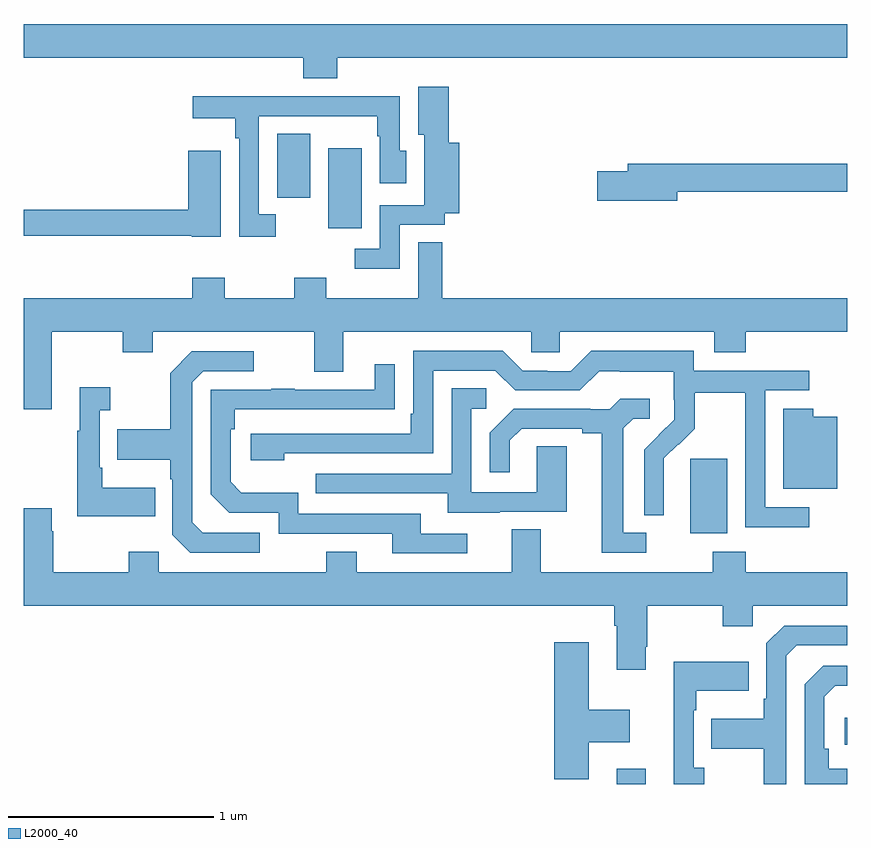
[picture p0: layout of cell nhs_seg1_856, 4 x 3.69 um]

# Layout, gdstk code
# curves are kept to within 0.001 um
import gdstk
lib = gdstk.Library(unit=1e-6, precision=1e-09)
def R(c, l, rs):  # rectangles x0, y0, x1, y1
    for r in rs: c.add(gdstk.rectangle(r[:2], r[2:], *l))
def P(c, l, *ps):  # polygons
    for p in ps: c.add(gdstk.Polygon(p, *l))
L2000_40 = (2000, 40)

nhs_seg1_856 = lib.new_cell('nhs_seg1_856')
R(nhs_seg1_856, L2000_40, [(159.881,552.199,160.021,552.274), (160.989,552.39,161,552.52), (160.238,553.418,160.417,553.779), (158.48,554.9,158.641,555.289), (158.231,555.048,158.392,555.359)])
P(nhs_seg1_856, L2000_40, [(158.522,555.728),(161,555.728),(161,555.892),(157,555.892),(157,555.728),(158.357,555.728),(158.357,555.629),(158.522,555.629)],
  [(158.826,554.916),(159.046,554.916),(159.046,554.972),(159.116,554.972),(159.116,555.316),(159.064,555.316),(159.064,555.586),(158.915,555.586),(158.915,555.353),(158.945,555.353),(158.945,555.012),(158.73,555.012),(158.73,554.799),(158.607,554.799),(158.607,554.702),(158.826,554.702)],
  [(158.224,554.967),(158.142,554.967),(158.142,555.444),(158.488,555.444),(158.488,555.443),(158.718,555.443),(158.718,555.347),(158.73,555.347),(158.73,555.117),(158.857,555.117),(158.857,555.276),(158.826,555.276),(158.826,555.542),(158.605,555.542),(158.605,555.54),(158.239,555.54),(158.239,555.542),(157.821,555.542),(157.821,555.434),(158.026,555.434),(158.026,555.338),(158.046,555.338),(158.046,554.859),(158.224,554.859)],
  [(157.957,555.277),(157.799,555.277),(157.799,554.99),(157,554.99),(157,554.862),(157.815,554.862),(157.815,554.858),(157.957,554.858)],
  [(160.174,555.076),(161,555.076),(161,555.212),(159.935,555.212),(159.935,555.176),(159.786,555.176),(159.786,555.034),(160.174,555.034)],
  [(157.135,554.396),(157.48,554.396),(157.48,554.297),(157.627,554.297),(157.627,554.396),(158.411,554.396),(158.411,554.202),(158.551,554.202),(158.551,554.396),(159.465,554.396),(159.465,554.298),(159.603,554.298),(159.603,554.396),(160.355,554.396),(160.355,554.297),(160.508,554.297),(160.508,554.396),(161,554.396),(161,554.56),(159.034,554.56),(159.034,554.831),(158.915,554.831),(158.915,554.56),(158.469,554.56),(158.469,554.659),(158.314,554.659),(158.314,554.56),(157.977,554.56),(157.977,554.659),(157.817,554.659),(157.817,554.56),(157,554.56),(157,554.019),(157.135,554.019)],
  [(160.816,553.545),(160.602,553.545),(160.602,554.112),(160.816,554.112),(160.816,554.208),(160.254,554.208),(160.254,554.305),(159.757,554.305),(159.657,554.205),(159.542,554.205),(159.542,554.208),(159.423,554.208),(159.327,554.304),(158.892,554.304),(158.892,553.999),(158.879,553.999),(158.879,553.902),(158.103,553.902),(158.103,553.772),(158.264,553.772),(158.264,553.806),(158.988,553.806),(158.988,554.208),(159.291,554.208),(159.387,554.112),(159.702,554.112),(159.795,554.205),(159.895,554.205),(159.895,554.201),(160.158,554.201),(160.158,554.067),(160.16,554.067),(160.16,553.97),(160.014,553.822),(160.014,553.504),(160.11,553.504),(160.109,553.781),(160.179,553.851),(160.182,553.848),(160.259,553.925),(160.259,554.1),(160.504,554.1),(160.504,553.876),(160.506,553.876),(160.506,553.447),(160.816,553.447)],
  [(158.146,553.419),(157.869,553.419),(157.818,553.47),(157.818,554.151),(157.872,554.205),(158.116,554.205),(158.116,554.301),(157.815,554.301),(157.71,554.195),(157.71,553.923),(157.453,553.923),(157.453,553.775),(157.71,553.775),(157.71,553.679),(157.722,553.679),(157.722,553.41),(157.809,553.323),(158.146,553.323)],
  [(159.154,553.416),(158.929,553.416),(158.929,553.512),(158.334,553.512),(158.334,553.615),(158.057,553.615),(158.004,553.668),(158.004,553.922),(158.024,553.922),(158.024,554.019),(158.801,554.02),(158.801,554.239),(158.705,554.239),(158.705,554.115),(158.315,554.115),(158.315,554.12),(158.203,554.12),(158.203,554.115),(157.908,554.115),(157.908,553.608),(157.998,553.518),(158.238,553.518),(158.238,553.416),(158.789,553.416),(158.789,553.32),(159.154,553.32)],
  [(157.637,553.639),(157.381,553.639),(157.381,553.735),(157.368,553.735),(157.368,554.015),(157.42,554.015),(157.42,554.128),(157.271,554.128),(157.271,553.915),(157.26,553.915),(157.26,553.499),(157.637,553.499)],
  [(159.313,553.521),(159.637,553.521),(159.637,553.841),(159.492,553.841),(159.492,553.617),(159.174,553.617),(159.174,554.022),(159.247,554.022),(159.247,554.123),(159.078,554.123),(159.078,553.707),(158.419,553.707),(158.419,553.611),(159.059,553.611),(159.059,553.517),(159.313,553.517)],
  [(160.024,553.419),(159.913,553.419),(159.913,553.927),(159.96,553.974),(160.042,553.974),(160.042,554.071),(159.898,554.071),(159.846,554.019),(159.752,554.019),(159.752,554.022),(159.38,554.022),(159.264,553.906),(159.264,553.713),(159.361,553.713),(159.361,553.869),(159.418,553.926),(159.713,553.926),(159.713,553.904),(159.809,553.904),(159.809,553.323),(160.024,553.323)],
  [(160.951,553.984),(160.835,553.984),(160.835,554.023),(160.691,554.023),(160.691,553.634),(160.951,553.634)],
  [(160.021,552.865),(160.029,552.865),(160.029,553.064),(160.396,553.064),(160.396,552.965),(160.542,552.965),(160.542,553.064),(161,553.064),(161,553.228),(160.508,553.228),(160.508,553.327),(160.348,553.327),(160.348,553.228),(159.511,553.228),(159.511,553.436),(159.371,553.436),(159.371,553.228),(158.617,553.228),(158.617,553.327),(158.47,553.327),(158.47,553.228),(157.656,553.228),(157.656,553.327),(157.51,553.327),(157.51,553.228),(157.143,553.228),(157.143,553.427),(157.135,553.427),(157.135,553.54),(157,553.54),(157,553.064),(159.869,553.064),(159.869,552.968),(159.881,552.968),(159.881,552.753),(160.021,552.753)],
  [(160.704,552.822),(160.755,552.873),(161,552.873),(161,552.969),(160.695,552.969),(160.608,552.882),(160.608,552.613),(160.596,552.613),(160.596,552.517),(160.339,552.517),(160.339,552.37),(160.596,552.37),(160.596,552.199),(160.704,552.199)],
  [(159.745,552.401),(159.943,552.401),(159.943,552.559),(159.745,552.559),(159.745,552.889),(159.578,552.889),(159.578,552.222),(159.745,552.222)],
  [(160.306,552.278),(160.254,552.278),(160.254,552.557),(160.267,552.557),(160.267,552.653),(160.523,552.653),(160.523,552.793),(160.157,552.793),(160.157,552.199),(160.306,552.199)],
  [(161,552.273),(160.91,552.273),(160.91,552.37),(160.89,552.37),(160.89,552.624),(160.943,552.677),(161,552.677),(161,552.774),(160.884,552.774),(160.794,552.684),(160.794,552.199),(161,552.199)])

lib.write_gds('nhs_seg1_856.gds')
